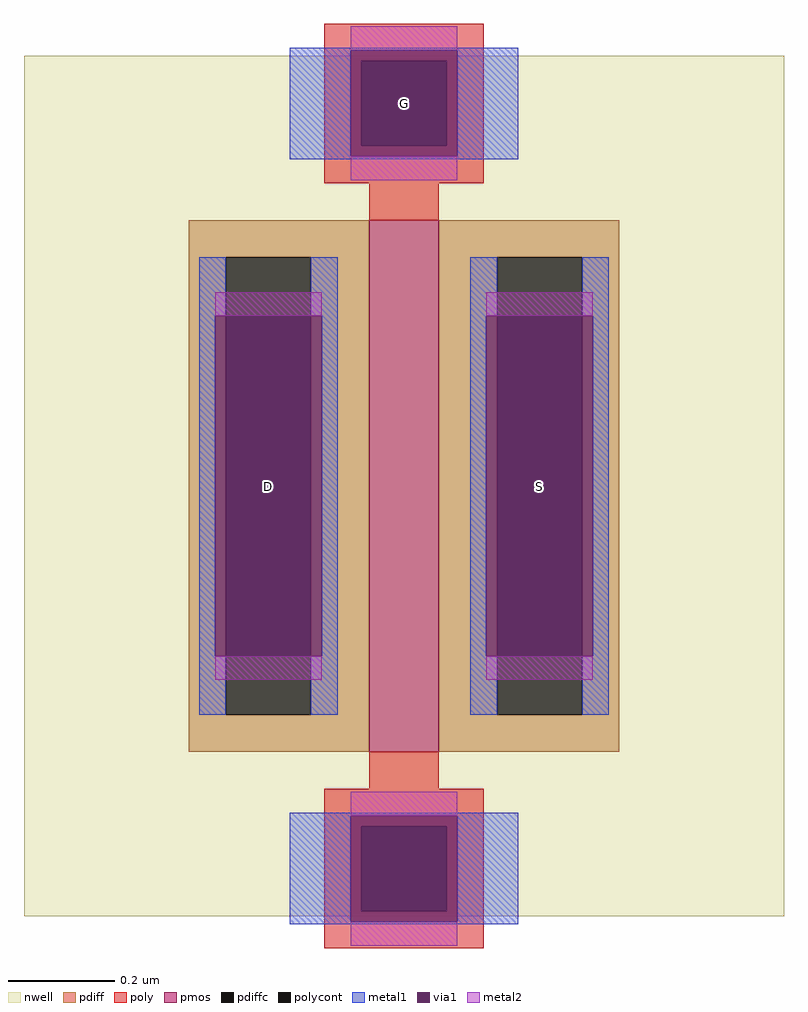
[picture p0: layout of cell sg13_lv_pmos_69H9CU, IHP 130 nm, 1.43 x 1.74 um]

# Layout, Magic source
magic
tech ihp-sg13cmos5l
magscale 1 2
<< nwell >>
rect -143 -162 143 162
<< pmos >>
rect -13 -100 13 100
<< pdiff >>
rect -81 86 -13 100
rect -81 -86 -67 86
rect -35 -86 -13 86
rect -81 -100 -13 -86
rect 13 86 81 100
rect 13 -86 35 86
rect 67 -86 81 86
rect 13 -100 81 -86
<< pdiffc >>
rect -67 -86 -35 86
rect 35 -86 67 86
<< poly >>
rect -30 160 30 174
rect -30 128 -16 160
rect 16 128 30 160
rect -30 114 30 128
rect -13 100 13 114
rect -13 -114 13 -100
rect -30 -128 30 -114
rect -30 -160 -16 -128
rect 16 -160 30 -128
rect -30 -174 30 -160
<< polycont >>
rect -16 128 16 160
rect -16 -160 16 -128
<< metal1 >>
rect -43 164 43 165
rect -43 124 -20 164
rect 20 124 43 164
rect -43 123 43 124
rect -77 64 -67 86
rect -35 64 -25 86
rect -77 -64 -71 64
rect -31 -64 -25 64
rect -77 -86 -67 -64
rect -35 -86 -25 -64
rect 25 64 35 86
rect 67 64 77 86
rect 25 -64 31 64
rect 71 -64 77 64
rect 25 -86 35 -64
rect 67 -86 77 -64
rect -43 -124 43 -123
rect -43 -164 -20 -124
rect 20 -164 43 -124
rect -43 -165 43 -164
<< via1 >>
rect -20 160 20 164
rect -20 128 -16 160
rect -16 128 16 160
rect 16 128 20 160
rect -20 124 20 128
rect -71 -64 -67 64
rect -67 -64 -35 64
rect -35 -64 -31 64
rect 31 -64 35 64
rect 35 -64 67 64
rect 67 -64 71 64
rect -20 -128 20 -124
rect -20 -160 -16 -128
rect -16 -160 16 -128
rect 16 -160 20 -128
rect -20 -164 20 -160
<< metal2 >>
rect -20 164 20 173
rect -20 115 20 124
rect -71 64 -31 73
rect -71 -73 -31 -64
rect 31 64 71 73
rect 31 -73 71 -64
rect -20 -124 20 -115
rect -20 -173 20 -164
<< labels >>
rlabel pdiffc -51 0 -51 0 0 D
port 1 nsew
rlabel pdiffc 51 0 51 0 0 S
port 2 nsew
rlabel polycont 0 144 0 144 0 G
port 3 nsew
<< properties >>
string gencell sg13_lv_pmos
string library sg13cmos5l
string parameters w 1.0 l 0.13 m 1 ng 1 diffcov 100 polycov 100 guard 0 glc 1 grc 1 gtc 1 gbc 1 tbcov 100 rlcov 100 topc 1 botc 1 poverlap 0 doverlap 1 lmin 0.13 wmin 0.15 class mosfet compatible {sg13_lv_pmos sg13_hv_pmos} full_metal 1 conn_gates 0 gate_ring 0 ccols 1 viasrc 100 viadrn 100 viagate 100 viagb 0 viagr 0 viagl 0 viagt 0 doports 1
<< end >>
